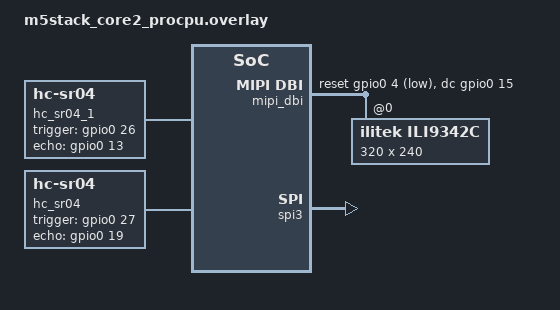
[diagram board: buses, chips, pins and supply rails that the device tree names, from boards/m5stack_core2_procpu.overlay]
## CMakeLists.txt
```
cmake_minimum_required(VERSION 3.20.0)
find_package(Zephyr REQUIRED HINTS $ENV{ZEPHYR_BASE})
project(final)

# Collect all the source files in app/prac2/src
FILE(GLOB app_sources src/*.c)

# Collect all the source files in lib. Note that
# the path given needs to be relative to the
# CMakeLists root, which is app/prac2 here,
# hence the ../../lib.c.
FILE(GLOB lib_sources library/*.c)

# Tell CMake to build with the app and lib sources
target_sources(app PRIVATE ${app_sources} ${lib_sources})

# Tell CMake where our header files are
target_include_directories(app PRIVATE include)
```

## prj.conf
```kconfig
CONFIG_BT=y
CONFIG_BT_BROADCASTER=y

CONFIG_LOG_CMDS=y
CONFIG_HEAP_MEM_POOL_SIZE=40000

CONFIG_PRINTK=y
CONFIG_GPIO=y

CONFIG_SENSOR=y
# SPI interface for the display
CONFIG_SPI=y
# Touch support 
CONFIG_INPUT=y
CONFIG_NEWLIB_LIBC=y
CONFIG_NEWLIB_LIBC_FLOAT_PRINTF=y

CONFIG_I2C=y

CONFIG_SERIAL=y
CONFIG_CONSOLE=y
CONFIG_UART_CONSOLE=y

CONFIG_I2C_NRFX=y

CONFIG_CBPRINTF_FP_SUPPORT=y

CONFIG_FPU=y

# For better debugging
CONFIG_ASSERT=y

CONFIG_ESP32_USE_UNSUPPORTED_REVISION=y
```

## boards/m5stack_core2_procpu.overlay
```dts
#include <dt-bindings/gpio/gpio.h>

/ {
    hc_sr04_1: hc_sr04_1 {
        compatible = "hc-sr04";
        trigger-gpios = <&gpio0 26 GPIO_ACTIVE_HIGH>;
        echo-gpios = <&gpio0 13 GPIO_ACTIVE_HIGH>;
        status = "okay";
    };

    hc_sr04: hc_sr04 {
        compatible = "hc-sr04";
        trigger-gpios = <&gpio0 27 GPIO_ACTIVE_HIGH>;
        echo-gpios = <&gpio0 19 GPIO_ACTIVE_HIGH>;
        status = "okay";
    };

    aliases {
        hcsr041 = &hc_sr04_1;
        hcsr04 = &hc_sr04;
    };

	chosen {
		zephyr,display = &ili9342c;
	};

	mipi_dbi {
		compatible = "zephyr,mipi-dbi-spi";
		spi-dev = <&spi3>;
		dc-gpios = <&gpio0 15 GPIO_ACTIVE_HIGH>;	/* DC pin */
		reset-gpios = <&gpio0 4 GPIO_ACTIVE_LOW>;	/* Reset pin - may need AXP192 control */
		#address-cells = <1>;
		#size-cells = <0>;

		ili9342c: ili9342c@0 {
			compatible = "ilitek,ili9342c";
			reg = <0>;
			//spi-max-frequency = <25000000>; /* 25 MHz max for ILI9342C */
			
			pixel-format = <0>; /* RGB565 */
			rotation = <0>;
			width = <320>;
			height = <240>;
			display-inversion;
		};
	};
};

&spi3 {
	status = "okay";
	#address-cells = <1>;
	#size-cells = <0>;
	cs-gpios = <&gpio0 5 GPIO_ACTIVE_LOW>;	/* CS pin */
};
```

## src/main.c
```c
/*
 * Copyright (c) 2018 Henrik Brix Andersen <henrik@brixandersen.dk>
 *
 * SPDX-License-Identifier: Apache-2.0
 */

#include <zephyr/types.h>
#include <stddef.h>
#include <zephyr/sys/printk.h>
#include <zephyr/sys/util.h>

#include <zephyr/bluetooth/bluetooth.h>
#include <zephyr/bluetooth/hci.h>

#ifndef IBEACON_RSSI
#define IBEACON_RSSI 0xc8
#endif

#define MY_STACK_SIZE 800
#define MY_PRIORITY 5

// thread memory space
K_THREAD_STACK_DEFINE(stack_area, 1024*2);
K_THREAD_STACK_DEFINE(stack_area1, 1024*3);
K_THREAD_STACK_DEFINE(stack_area2, 1024*2);
K_THREAD_STACK_DEFINE(stack_area3, 1024*3);

// threads and thread ids
struct k_thread observer_thread;
struct k_thread rssi_thread;
struct k_thread kalman_thread;
struct k_thread us_thread;
struct k_thread gui_thread;


k_tid_t observer_tid;
k_tid_t rssi_tid;
k_tid_t kalman_tid;
k_tid_t us_tid;
k_tid_t gui_tid;

struct k_fifo ble_fifo;

#include "ultrasonic.h"
#include "kalman.h"
#include "gps.h"

#define OFFSET 5

/*
 * Set iBeacon demo advertisement data. These values are for
 * demonstration only and must be changed for production environments!
 *
 * UUID:  18ee1516-016b-4bec-ad96-bcb96d166e97
 * Major: 0
 * Minor: 0
 * RSSI:  -56 dBm
 */
 /* Mutable portion of advert. */
 static uint8_t ad_payload[25] = {
    0x95, 0x12,                        // Manufactuer ID: 0x0059 (Nordic Semi)
    0x02, 0x15,               // Custom ID.
    0x01,                              // Sequence counter. 
    0xF4, 0x01, 0x04, 0x05, 0x06,      // PADDING
    0x08, 0x07, 0x06      ,            // ULTRASONIC VALUES (meters, millimeter high, millimeter low)
    0x00, 0x00, 0x00, 0x00, 0x00,       // PADDING
    0xFF, 00, 00, 00, 00, 00, 00                               // Extra ID byte.
};

/* Immutable portion of advert. */
// REF: https://github.com/zephyrproject-rtos/zephyr/blob/main/samples/bluetooth/iBeacon/
static struct bt_data ad[] = {
    BT_DATA_BYTES(BT_DATA_FLAGS, BT_LE_AD_NO_BREDR),
    BT_DATA(BT_DATA_MANUFACTURER_DATA, ad_payload, sizeof(ad_payload))
};

struct gps_values {
    void *fifo_reserved;
    double gps_values[4];
};

static void bt_ready(int err)
{
	if (err) {
		printk("Bluetooth init failed (err %d)\n", err);
		return;
	}

	printk("Bluetooth initialized\n");

	/* Start advertising */
	err = bt_le_adv_start(BT_LE_ADV_NCONN, ad, ARRAY_SIZE(ad),
			      NULL, 0);
	if (err) {
		printk("Advertising failed to start (err %d)\n", err);
		return;
	}

	printk("iBeacon started\n");
}

#define MAX_BCD_DIGITS 10  // Total number of digits (before + after decimal)

typedef struct {
    uint8_t bcd[(MAX_BCD_DIGITS + 1) / 2];  // 2 digits per byte
    int len;                                // number of BCD bytes used
} BCDResult;

BCDResult double_to_bcd(double num) {
    BCDResult result = { .bcd = {0}, .len = 0 };

    if (num < 0) num = -num;

    uint64_t int_part = (uint64_t)num;
    double frac_part = num - int_part;

    char str[32];
    int idx = 0;

    // Convert integer part to string (in reverse, then correct)
    if (int_part == 0) {
        str[idx++] = '0';
    } else {
        char temp[20];
        int temp_idx = 0;
        while (int_part > 0) {
            temp[temp_idx++] = '0' + (int_part % 10);
            int_part /= 10;
        }
        for (int i = temp_idx - 1; i >= 0; i--) {
            str[idx++] = temp[i];
        }
    }

    // Convert fractional part to up to 9 digits
    for (int i = 0; i < 9; i++) {
        frac_part *= 10.0;
        int digit = (int)frac_part;
        str[idx++] = '0' + digit;
        frac_part -= digit;
    }

    str[idx] = '\0';

    // Convert string to BCD
    int j = 0;
    for (int i = 0; i < idx && j < MAX_BCD_DIGITS; i++) {
        uint8_t digit = str[i] - '0';
        if (j % 2 == 0) {
            result.bcd[j / 2] = (digit << 4);
        } else {
            result.bcd[j / 2] |= digit;
        }
        j++;
    }
    
    result.len = (j + 1) / 2;
    return result;
}

static void update_adv_data(struct gps_values* rx_data) {
    double num = rx_data->gps_values[0];
    uint8_t* bcd_array;

    BCDResult a = double_to_bcd(num);

    for (int i = OFFSET; i < a.len + OFFSET; i++) {
        ad_payload[i] = (uint8_t)a.bcd[i-OFFSET];
    }

    double num2 = rx_data->gps_values[1];
    uint8_t* bcd_array2;

    BCDResult b = double_to_bcd(num2);

    for (int j = OFFSET+a.len; j < b.len + OFFSET + a.len-1; j++) {
        ad_payload[j] = (uint8_t)b.bcd[j-OFFSET-a.len];
    }
    printf("success\n");

    /* Restart advertising. */
    bt_le_adv_start(BT_LE_ADV_NCONN, ad, ARRAY_SIZE(ad), NULL, 0);
    k_free(rx_data);
    k_msleep(5000);
    bt_le_adv_stop();    
    while(1){
        k_msleep(100000);
    }
}

int main(void)
{
	int err;
	printk("Starting iBeacon Demo\n");

	/* Initialize the Bluetooth Subsystem */
	err = bt_enable(bt_ready);
	if (err) {
		printk("Bluetooth init failed (err %d)\n", err);
	}
    bt_le_adv_stop();    

    k_fifo_init(&kalman_us_fifo);
	k_fifo_init(&kalman_rs_fifo);
	k_fifo_init(&ble_fifo);

    //k_fifo_init(&signal_fifo);

	kalman_tid = k_thread_create(&kalman_thread, stack_area2,
	    K_THREAD_STACK_SIZEOF(stack_area2), create_filter,
	    NULL, NULL, NULL, MY_PRIORITY, 0, K_NO_WAIT);
	// handle ultra sonic sensor processing
	us_tid = k_thread_create(&us_thread, stack_area3,
	    K_THREAD_STACK_SIZEOF(stack_area3), ultrasonic,
	    NULL, NULL, NULL, MY_PRIORITY, 0, K_NO_WAIT);

    struct gps_values* rx_data;
    int flag = 0;
    while(1){
        //if (1) {
        if (!k_fifo_is_empty(&ble_fifo)){
            // data recieved, limit any values to not be read if outside grid
            rx_data = k_fifo_get(&ble_fifo, K_FOREVER);
            update_adv_data(rx_data);
        }
        k_msleep(500);
    }    
	return 0;
}

/* Test thread. */
int gps_test_thread(void) 
{

    struct GNGGA_GPS_data GNGGA_data;
    struct GNRMC_GPS_data GNRMC_data;

    double latitude, longitude; 
    int status;
 
    k_msleep(1000);
    
    while (1) {

        // EXAMPLE USEAGE
        // RETURN VALUES:
        // status = 0 - no gps sources
        // status = 1 - 1 gps source
        // status = 2 - 2 gps sources

        //status = get_gps_data(&latitude, &longitude);

        //printf("GPS Coordinates (%d Sources): %.6f, %.6f\n", status, latitude, longitude);
        if (k_sem_take(&signal, K_MSEC(50)) != 0) {
            //printk("Input data not available!");
        } else {
            /* fetch available data */
            
            struct gps_values tx_data;
            tx_data.gps_values[0] = 27.500685;
            tx_data.gps_values[1] = 153.015555;

            size_t size = sizeof(struct gps_values);
            char *mem_ptr = k_malloc(size);
            memcpy(mem_ptr, &tx_data, size);
            k_fifo_put(&ble_fifo, mem_ptr);
        }


        k_msleep(1000);
    }

    return 0;
}

#define GPS_TEST_THREAD_PRIORITY 5
#define TEST_THREAD_STACK_SIZE 1024*4

/* Define threads with respective priority. */
//REF: https://github.com/zephyrproject-rtos/zephyr/blob/main/samples/basic/threads/
K_THREAD_DEFINE(gps_test_thread_id, TEST_THREAD_STACK_SIZE,
    gps_test_thread, NULL, NULL, NULL,
    GPS_TEST_THREAD_PRIORITY, 0, 0);

//(gps_thread_id, GPS_THREAD_STACK_SIZE,
//    GPS_thread, NULL, NULL, NULL,
//    GPS_THREAD_PRIORITY, 0, 0);
```

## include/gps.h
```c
/**
 * @file gps.h
 * @brief Driver for SparkFun's XA1110 GPS I2C module
 *
 * This library handles communication with SparkFun's I2C GPS module (XA1110)
 * which uses the MediaTek MT3333 GPS chipset with special I2C firmware.
 */

#ifndef I2C_GPSH
#define I2C_GPSH

#include <zephyr/kernel.h>
#include <zephyr/device.h>
#include <zephyr/drivers/i2c.h>

#define MT333X_I2C_ADDR            0x10  /* 7-bit I2C address */
#define GPS_MAX_PACKET_SIZE        255   /* Max bytes to buffer from GPS */

#define GPS_SUCCESS                0
#define GPS_ERR_I2C_INIT          -1
#define GPS_ERR_NO_RESPONSE       -2
#define GPS_ERR_WRITE_FAIL        -3

#define GPS_THREAD_PRIORITY 5
#define GPS_THREAD_STACK_SIZE 4096*4

struct gps_i2c_data {
    uint8_t gps_buffer[GPS_MAX_PACKET_SIZE];
    uint8_t head;  
    uint8_t tail;  
    const struct device *i2c_dev;
    bool debug_enabled;
};

struct GNGGA_GPS_data {
    uint8_t lock;
    double timestamp;
    double latitude;
    char lat_direction;    // 'N' or 'S'
    double longitude;
    char lon_direction;    // 'E' or 'W'
    int fix_quality;       // 0 = invalid, 1 = GPS fix, 2 = DGPS fix
    int satellites_used;
};

struct GNRMC_GPS_data {
    uint8_t lock;
    double timestamp;
    double latitude;
    char lat_direction;    // 'N' or 'S'
    double longitude;
    char lon_direction;    // 'E' or 'W'
    double speed;      
    double course;
};

int gps_init(struct gps_i2c_data *data);
int gps_check(struct gps_i2c_data *data);
uint8_t gps_available(struct gps_i2c_data *data);
uint8_t gps_read(struct gps_i2c_data *data);
int gps_send_mtk_packet(struct gps_i2c_data *data, const char *command, size_t len);
int gps_create_mtk_packet(uint16_t packet_type, const char *data_field, 
                          char *buffer, size_t buffer_size);
int gps_calc_crc(const char *sentence, char *crc_out);
void process_gps_output(struct gps_i2c_data *data);

int get_gps_data(double *latitude, double *longitude);
int get_gnrmc_data(struct GNRMC_GPS_data *data_out);
int get_gngga_data(struct GNGGA_GPS_data *data_out);
int GPS_thread();

#endif 
```

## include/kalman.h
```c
#ifndef KALMAN_H
#define KALMAN_H

extern struct k_fifo kalman_us_fifo;
extern struct k_fifo kalman_rssi_fifo;
extern struct k_fifo kalman_rs_fifo;
extern struct k_fifo signal_fifo;

extern struct k_sem signal;

struct kalman_values {
        double x;
        double y;
        double vx;
        double vy;
        int sensor;
};

void create_filter();

#endif
```

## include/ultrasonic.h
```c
#ifndef ULTRASONIC_H
#define ULTRASONIC_H

struct us_values {
    void *fifo_reserved;
    double us_values[4];
};

void ultrasonic();

#endif
```
